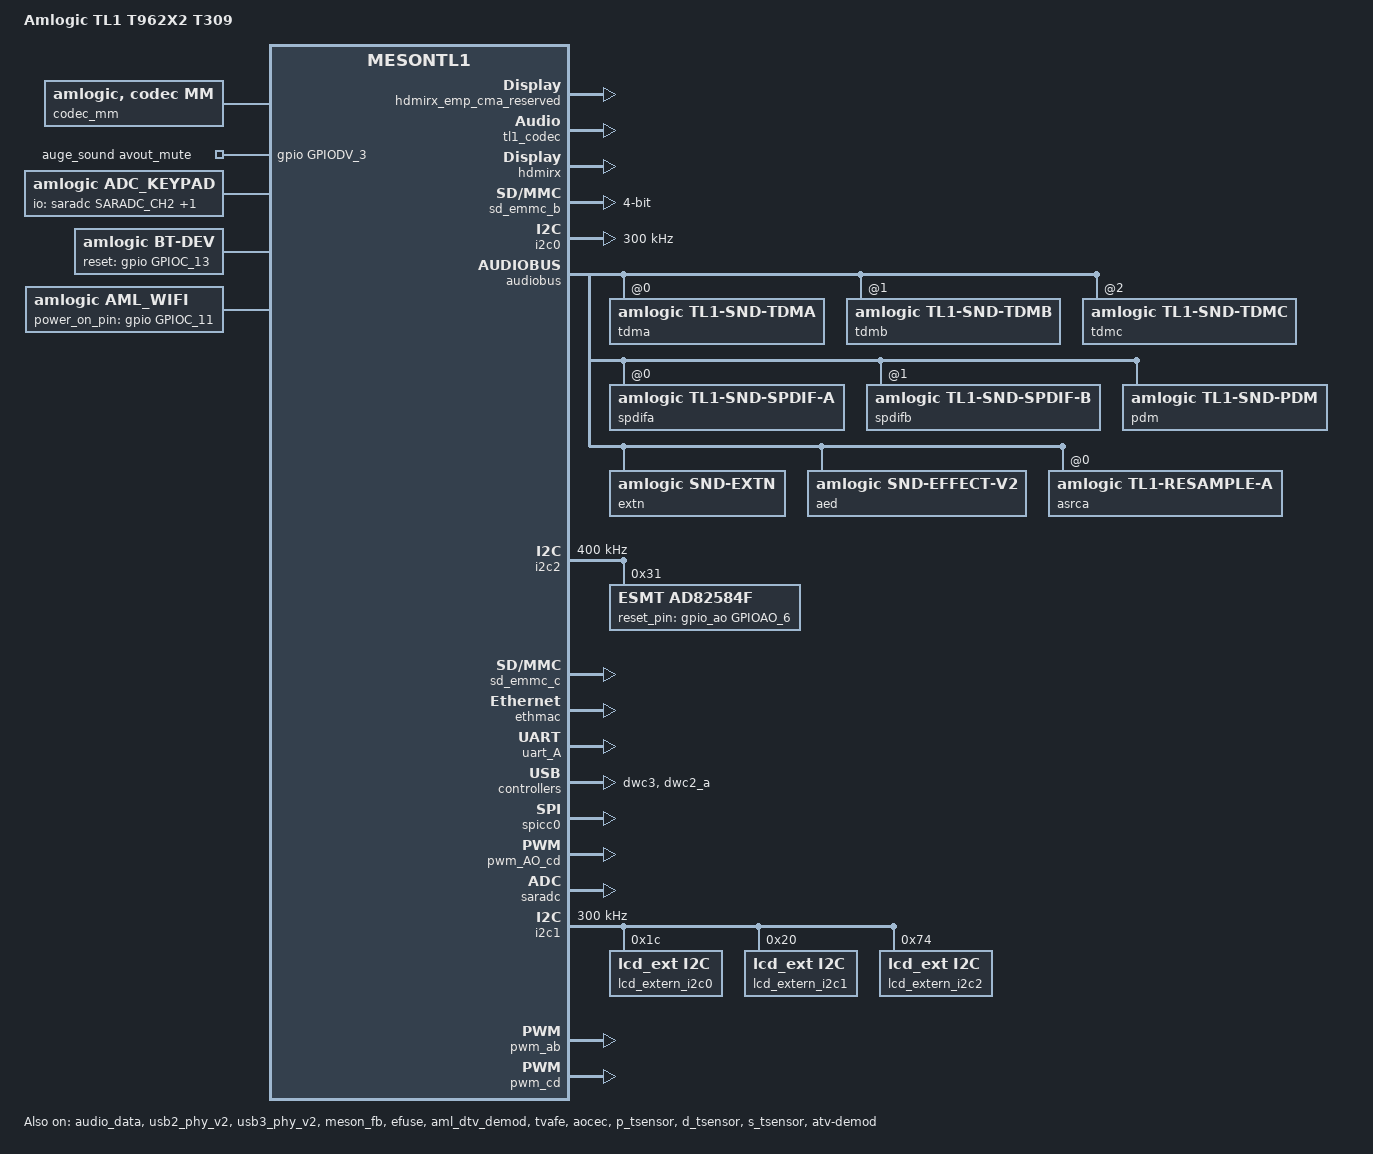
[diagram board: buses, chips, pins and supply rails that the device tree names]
/*
 * arch/arm/boot/dts/amlogic/tl1_t962x2_t309.dts
 *
 * Copyright (C) 2018 Amlogic, Inc. All rights reserved.
 *
 * This program is free software; you can redistribute it and/or modify
 * it under the terms of the GNU General Public License as published by
 * the Free Software Foundation; either version 2 of the License, or
 * (at your option) any later version.
 *
 * This program is distributed in the hope that it will be useful, but WITHOUT
 * ANY WARRANTY; without even the implied warranty of MERCHANTABILITY or
 * FITNESS FOR A PARTICULAR PURPOSE.  See the GNU General Public License for
 * more details.
 *
 */

/dts-v1/;

#include "mesontl1.dtsi"
#include "partition_mbox_normal_P_32.dtsi"
#include "mesontl1_t309-panel.dtsi"

/ {
	model = "Amlogic TL1 T962X2 T309";
	amlogic-dt-id = "tl1_t962x2_t309";
	compatible = "amlogic, tl1_t962x2_t309";

	aliases {
		serial0 = &uart_AO;
		serial1 = &uart_A;
		serial2 = &uart_B;
		serial3 = &uart_C;
		serial4 = &uart_AO_B;
		tsensor0 = &p_tsensor;
		tsensor1 = &d_tsensor;
		tsensor2 = &s_tsensor;
		i2c0 = &i2c0;
		i2c1 = &i2c1;
		i2c2 = &i2c2;
		i2c3 = &i2c3;
		i2c4 = &i2c_AO;
	};

	memory@00000000 {
		device_type = "memory";
		linux,usable-memory = <0x100000 0x7ff00000>;
	};

	reserved-memory {
		#address-cells = <1>;
		#size-cells = <1>;
		ranges;
		/* global autoconfigured region for contiguous allocations */
		secmon_reserved: linux,secmon {
			compatible = "shared-dma-pool";
			reusable;
			size = <0x400000>;
			alignment = <0x400000>;
			alloc-ranges = <0x05000000 0x400000>;
		};

		codec_mm_cma:linux,codec_mm_cma {
			compatible = "shared-dma-pool";
			reusable;
			/* ion_codec_mm max can alloc size 80M*/
			size = <0x13400000>;
			alignment = <0x400000>;
			linux,contiguous-region;
			alloc-ranges = <0x12000000 0x13400000>;
		};

		/* codec shared reserved */
		codec_mm_reserved:linux,codec_mm_reserved {
			compatible = "amlogic, codec-mm-reserved";
			size = <0x0>;
			alignment = <0x100000>;
			//no-map;
		};

		logo_reserved:linux,meson-fb {
			compatible = "shared-dma-pool";
			reusable;
			size = <0x800000>;
			alignment = <0x400000>;
			alloc-ranges = <0x7f800000 0x800000>;
		};

		lcd_tcon_reserved:linux,lcd_tcon {
			compatible = "shared-dma-pool";
			reusable;
			size = <0xc00000>;
			alignment = <0x400000>;
			alloc-ranges = <0x71000000 0xc00000>;
		};

		ion_cma_reserved:linux,ion-dev {
			compatible = "shared-dma-pool";
			reusable;
			size = <0x8000000>;
			alignment = <0x400000>;
		};

		/*  vdin0 CMA pool */
		//vdin0_cma_reserved:linux,vdin0_cma {
		//	compatible = "shared-dma-pool";
		//	reusable;
			/* 3840x2160x4x4 ~=128 M */
		//	size = <0xc400000>;
		//	alignment = <0x400000>;
		//};

		/*  vdin1 CMA pool */
		vdin1_cma_reserved:linux,vdin1_cma {
			compatible = "shared-dma-pool";
			reusable;
			/* 1920x1080x2x4  =16 M */
			size = <0x1400000>;
			alignment = <0x400000>;
		};

		/*demod_reserved:linux,demod {
		 *	compatible = "amlogic, demod-mem";
		 *	size = <0x800000>; //8M //100m 0x6400000
		 *	alloc-ranges = <0x0 0x30000000>;
		 *	//multi-use;
		 *	//no-map;
		 *};
		 */

		demod_cma_reserved:linux,demod_cma {
			compatible = "shared-dma-pool";
			reusable;
			/* 8M */
			size = <0x0800000>;
			alignment = <0x400000>;
		};

		/*vbi reserved mem*/
		vbi_reserved:linux,vbi {
			compatible = "amlogic, vbi-mem";
			size = <0x100000>;
			alloc-ranges = <0x0e000000 0x800000>;
		};

		/*di CMA pool */
		di_cma_reserved:linux,di_cma {
			compatible = "shared-dma-pool";
			reusable;
			/* buffer_size = 3621952(yuv422 8bit)
			 *  | 4736064(yuv422 10bit)
			 *  | 4074560(yuv422 10bit full pack mode)
			 * 10x3621952=34.6M(0x23) support 8bit
			 * 10x4736064=45.2M(0x2e) support 12bit
			 * 10x4074560=40M(0x28) support 10bit
			 */
			size = <0x02800000>;
			alignment = <0x400000>;
		};

		/* for hdmi rx emp use */
		hdmirx_emp_cma_reserved:linux,emp_cma {
			compatible = "shared-dma-pool";
			/*linux,phandle = <5>;*/
			reusable;
			/* 4M for emp to ddr */
			/* 32M for tmds to ddr */
			size = <0x2000000>;
			alignment = <0x400000>;
			/* alloc-ranges = <0x400000 0x2000000>; */
		};

		/* POST PROCESS MANAGER */
		ppmgr_reserved:linux,ppmgr {
			compatible = "amlogic, ppmgr_memory";
			size = <0x0>;
		};
	}; /* end of reserved-memory */

	codec_mm {
		compatible = "amlogic, codec, mm";
		status = "okay";
		memory-region = <&codec_mm_cma &codec_mm_reserved>;
	};

	ppmgr {
		compatible = "amlogic, ppmgr";
		memory-region = <&ppmgr_reserved>;
		status = "okay";
	};

	deinterlace {
		compatible = "amlogic, deinterlace";
		status = "okay";
		/* 0:use reserved; 1:use cma; 2:use cma as reserved */
		flag_cma = <1>;
		//memory-region = <&di_reserved>;
		memory-region = <&di_cma_reserved>;
		interrupts = <0 46 1
				0 40 1>;
		interrupt-names = "pre_irq", "post_irq";
		clocks = <&clkc CLKID_VPU_CLKB_TMP_COMP>,
			<&clkc CLKID_VPU_CLKB_COMP>;
		clock-names = "vpu_clkb_tmp_composite",
			"vpu_clkb_composite";
		clock-range = <334 667>;
		/* buffer-size = <3621952>;(yuv422 8bit) */
		buffer-size = <4074560>;/*yuv422 fullpack*/
		/* reserve-iomap = "true"; */
		/* if enable nr10bit, set nr10bit-support to 1 */
		post-wr-support = <1>;
		nr10bit-support = <1>;
		nrds-enable = <1>;
		pps-enable = <1>;
	};

	vout {
		compatible = "amlogic, vout";
		status = "okay";
		fr_auto_policy = <0>;
	};

	/* Audio Related start */
	pdm_codec:dummy {
		#sound-dai-cells = <0>;
		compatible = "amlogic, pdm_dummy_codec";
		status = "okay";
	};

	dummy_codec:dummy {
		#sound-dai-cells = <0>;
		compatible = "amlogic, aml_dummy_codec";
		status = "okay";
	};

	tl1_codec:codec {
		#sound-dai-cells = <0>;
		compatible = "amlogic, tl1_acodec";
		status = "okay";
		reg = <0xff632000 0x1c>;
		tdmout_index = <0>;
		tdmin_index = <0>;
		dat1_ch_sel = <1>;
	};

	aml_dtv_demod {
		compatible = "amlogic, ddemod-tl1";
		dev_name = "aml_dtv_demod";
		status = "okay";

		//pinctrl-names="dtvdemod_agc";
		//pinctrl-0=<&dtvdemod_agc>;

		clocks = <&clkc CLKID_DAC_CLK>;
		clock-names = "vdac_clk_gate";

		reg = <0xff650000 0x4000	/*dtv demod base*/
			   0xff63c000 0x2000	/*hiu reg base*/
			   0xff800000 0x1000	/*io_aobus_base*/
			   0xffd01000 0x1000	/*reset*/
			>;

		dtv_demod0_mem = <0>;	// need move to aml_dtv_demod ?
		spectrum = <1>;
		cma_flag = <1>;
		cma_mem_size = <8>;
		memory-region = <&demod_cma_reserved>;//<&demod_reserved>;
	};

	auge_sound {
		compatible = "amlogic, tl1-sound-card";
		aml-audio-card,name = "AML-AUGESOUND";

		avout_mute-gpios = <&gpio GPIODV_3 GPIO_ACTIVE_HIGH>;

		aml-audio-card,dai-link@0 {
			format = "i2s";
			mclk-fs = <256>;
			continuous-clock;
			//bitclock-inversion;
			//frame-inversion;
			/* master mode */
			bitclock-master = <&tdma>;
			frame-master = <&tdma>;
			/* slave mode */
			/*
			 * bitclock-master = <&tdmacodec>;
			 * frame-master = <&tdmacodec>;
			 */
			/* suffix-name, sync with android audio hal used for */
			suffix-name = "alsaPORT-i2s";
			tdmacpu: cpu {
				sound-dai = <&tdma>;
				dai-tdm-slot-tx-mask =
							<1 1>;
				dai-tdm-slot-rx-mask =
							<1 1>;
				dai-tdm-slot-num = <2>;
				dai-tdm-slot-width = <32>;
				system-clock-frequency = <12288000>;
			};
			tdmacodec: codec {
				//sound-dai = <&dummy_codec>;
				sound-dai = <&ad82584f &tl1_codec>;
			};
		};

		aml-audio-card,dai-link@1 {
			status = "disabled";

			format = "i2s";
			mclk-fs = <256>;
			//continuous-clock;
			//bitclock-inversion;
			//frame-inversion;
			/* master mode */
			bitclock-master = <&tdmb>;
			frame-master = <&tdmb>;
			/* slave mode */
			//bitclock-master = <&tdmbcodec>;
			//frame-master = <&tdmbcodec>;
			/* suffix-name, sync with android audio hal used for */
			suffix-name = "alsaPORT-pcm";
			cpu {
				sound-dai = <&tdmb>;
				dai-tdm-slot-tx-mask = <1 1>;
				dai-tdm-slot-rx-mask = <1 1>;
				dai-tdm-slot-num = <2>;
				/*
				 * dai-tdm-slot-tx-mask =
				 *	<1 1 1 1 1 1 1 1>;
				 * dai-tdm-slot-rx-mask =
				 *	<1 1 1 1 1 1 1 1>;
				 * dai-tdm-slot-num = <8>;
				 */
				dai-tdm-slot-width = <32>;
				system-clock-frequency = <12288000>;
			};
			tdmbcodec: codec {
				sound-dai = <&dummy_codec>;
			};
		};

		aml-audio-card,dai-link@2 {
			status = "disabled";

			format = "i2s";
			mclk-fs = <256>;
			//continuous-clock;
			//bitclock-inversion;
			//frame-inversion;
			/* master mode */
			bitclock-master = <&tdmc>;
			frame-master = <&tdmc>;
			/* slave mode */
			//bitclock-master = <&tdmccodec>;
			//frame-master = <&tdmccodec>;
			/* suffix-name, sync with android audio hal used for */
			//suffix-name = "alsaPORT-tdm";
			cpu {
				sound-dai = <&tdmc>;
				dai-tdm-slot-tx-mask = <1 1>;
				dai-tdm-slot-rx-mask = <1 1>;
				dai-tdm-slot-num = <2>;
				dai-tdm-slot-width = <32>;
				system-clock-frequency = <12288000>;
			};
			tdmccodec: codec {
				sound-dai = <&dummy_codec>;
			};
		};

		aml-audio-card,dai-link@3 {
			mclk-fs = <64>;
			/* suffix-name, sync with android audio hal used for */
			suffix-name = "alsaPORT-pdm";
			cpu {
				sound-dai = <&pdm>;
			};
			codec {
				sound-dai = <&pdm_codec>;
			};
		};

		aml-audio-card,dai-link@4 {
			mclk-fs = <128>;
			/* suffix-name, sync with android audio hal used for */
			suffix-name = "alsaPORT-spdif";
			cpu {
				sound-dai = <&spdifa>;
				system-clock-frequency = <6144000>;
			};
			codec {
				sound-dai = <&dummy_codec>;
			};
		};

		aml-audio-card,dai-link@5 {
			mclk-fs = <128>;
			cpu {
				sound-dai = <&spdifb>;
				system-clock-frequency = <6144000>;
			};
			codec {
				sound-dai = <&dummy_codec>;
			};
		};

		aml-audio-card,dai-link@6 {
			mclk-fs = <256>;
			suffix-name = "alsaPORT-tv";
			cpu {
				sound-dai = <&extn>;
				system-clock-frequency = <12288000>;
			};
			codec {
				sound-dai = <&dummy_codec>;
			};
		};

	};
	/* Audio Related end */

	dvb {
		compatible = "amlogic, dvb";
		status = "okay";
		fe0_mode = "internal";
		fe0_tuner = <&tuner>;

		/*"parallel","serial","disable"*/
		ts2 = "parallel";
		ts2_control = <0>;
		ts2_invert = <0>;
		interrupts = <0 23 1
				0 5 1
				0 53 1
				0 19 1
				0 25 1
				0 17 1>;
		interrupt-names = "demux0_irq",
				"demux1_irq",
				"demux2_irq",
				"dvr0_irq",
				"dvr1_irq",
				"dvr2_irq";
		clocks = <&clkc CLKID_DEMUX
			&clkc CLKID_ASYNC_FIFO
			&clkc CLKID_AHB_ARB0
/*		&clkc CLKID_DOS_PARSER>;*/
		&clkc CLKID_U_PARSER>;
		clock-names = "demux", "asyncfifo", "ahbarb0", "uparsertop";
	};

	tvafe_avin_detect {
		compatible = "amlogic, tl1_tvafe_avin_detect";
		status = "okay";
		device_mask = <1>;/*bit0:ch1;bit1:ch2*/
		interrupts = <0 12 1>,
				<0 13 1>;
	};

	amlvecm {
		compatible = "amlogic, vecm";
		dev_name = "aml_vecm";
		status = "okay";
		gamma_en = <1>;/*1:enabel ;0:disable*/
		wb_en = <1>;/*1:enabel ;0:disable*/
		cm_en = <1>;/*1:enabel ;0:disable*/
		wb_sel = <1>;/*1:mtx ;0:gainoff*/
		vlock_en = <1>;/*1:enable;0:disable*/
		vlock_mode = <0x4>;
		/* vlock work mode:
		 *bit0:auto ENC
		 *bit1:auto PLL
		 *bit2:manual PLL
		 *bit3:manual ENC
		 *bit4:manual soft ENC
		 *bit5:manual MIX PLL ENC
		 */
		 vlock_pll_m_limit = <1>;
		 vlock_line_limit = <3>;
	};

	vdin@0 {
		compatible = "amlogic, vdin";
		/*memory-region = <&vdin0_cma_reserved>;*/
		status = "okay";
		/*bit0:(1:share with codec_mm;0:cma alone)
		 *bit8:(1:alloc in discontinus way;0:alone in continuous way)
		 */
		flag_cma = <0x101>;
		/*MByte, if 10bit disable: 64M(YUV422),
		 *if 10bit enable: 64*1.5 = 96M(YUV422)
		 *if support 4K2K-YUV444-10bit-WR:3840*2160*4*4 ~= 128M
		 *if support 4K2K-YUV422-10bit-wr:3840*2160*3*4 ~= 96M
		 *if support 4K2K-YUV422-8BIT-WR:3840*2160*2*4 ~= 64M
		 *if support 1080p-YUV422-8BIT-WR:1920*1080*2*4 ~= 16M
		 */
		cma_size = <190>;
		interrupts = <0 83 1>;
		rdma-irq = <2>;
		clocks = <&clkc CLKID_FCLK_DIV5>,
			<&clkc CLKID_VDIN_MEAS_COMP>;
		clock-names = "fclk_div5", "cts_vdin_meas_clk";
		vdin_id = <0>;
		/*vdin write mem color depth support:
		 * bit0:support 8bit
		 * bit1:support 9bit
		 * bit2:support 10bit
		 * bit3:support 12bit
		 * bit4:support yuv422 10bit full pack mode (from txl new add)
		 * bit8:use 8bit  at 4k_50/60hz_10bit
		 * bit9:use 10bit at 4k_50/60hz_10bit
		 */
		tv_bit_mode = <0x215>;
		/* afbce_bit_mode: (amlogic frame buff compression encoder)
		 * bit 0~3:
		 * 0 -- normal mode, not use afbce
		 * 1 -- use afbce non-mmu mode
		 * 2 -- use afbce mmu mode
		 * bit 4:
		 * 0 -- afbce compression-lossy disable
		 * 1 -- afbce compression-lossy enable
		 */
		afbce_bit_mode = <0>;
	};

	vdin@1 {
		compatible = "amlogic, vdin";
		memory-region = <&vdin1_cma_reserved>;
		status = "okay";
		/*bit0:(1:share with codec_mm;0:cma alone)
		 *bit8:(1:alloc in discontinus way;0:alone in continuous way)
		 */
		flag_cma = <0>;
		interrupts = <0 85 1>;
		rdma-irq = <4>;
		clocks = <&clkc CLKID_FCLK_DIV5>,
			<&clkc CLKID_VDIN_MEAS_COMP>;
		clock-names = "fclk_div5", "cts_vdin_meas_clk";
		vdin_id = <1>;
		/*vdin write mem color depth support:
		 *bit0:support 8bit
		 *bit1:support 9bit
		 *bit2:support 10bit
		 *bit3:support 12bit
		 */
		tv_bit_mode = <0x15>;
	};

	tvafe {
		compatible = "amlogic, tvafe-tl1";
		/*memory-region = <&tvafe_cma_reserved>;*/
		status = "okay";
		flag_cma = <1>;/*1:share with codec_mm;0:cma alone*/
		cma_size = <5>;/*MByte*/
		reg = <0xff654000 0x2000>;/*tvafe reg base*/
		reserve-iomap = "true";
		tvafe_id = <0>;
		//pinctrl-names = "default";
		/*!!particular sequence, no more and no less!!!*/
		tvafe_pin_mux = <
				3 /* TVAFE_CVBS_IN2, CVBS_IN0 = 0 */
				1 /* TVAFE_CVBS_IN0, CVBS_IN1 */
				2 /* TVAFE_CVBS_IN1, CVBS_IN2 */
				4 /* TVAFE_CVBS_IN3, CVBS_IN3 */
		>;
		clocks = <&clkc CLKID_DAC_CLK>;
		clock-names = "vdac_clk_gate";
	};

	vbi {
		compatible = "amlogic, vbi";
		memory-region = <&vbi_reserved>;
		status = "okay";
		interrupts = <0 83 1>;
		reserve-iomap = "true";
	};

	cvbsout {
		compatible = "amlogic, cvbsout-tl1";
		status = "disabled";
		clocks = <&clkc CLKID_VCLK2_ENCI
			&clkc CLKID_VCLK2_VENCI0
			&clkc CLKID_VCLK2_VENCI1
			&clkc CLKID_DAC_CLK>;
		clock-names = "venci_top_gate",
			"venci_0_gate",
			"venci_1_gate",
			"vdac_clk_gate";
		/* clk path */
		/* 0:vid_pll vid2_clk */
		/* 1:gp0_pll vid2_clk */
		/* 2:vid_pll vid1_clk */
		/* 3:gp0_pll vid1_clk */
		clk_path = <0>;

		/* performance: reg_address, reg_value */
		/* tl1 */
		performance = <0x1bf0  0x9
			0x1b56  0x333
			0x1b12  0x8080
			0x1b05  0xfd
			0x1c59  0xf850
			0xffff  0x0>; /* ending flag */
		performance_sarft = <0x1bf0  0x9
			0x1b56  0x333
			0x1b12  0x0
			0x1b05  0x9
			0x1c59  0xfc48
			0xffff  0x0>; /* ending flag */
		performance_revB_telecom = <0x1bf0  0x9
			0x1b56  0x546
			0x1b12  0x8080
			0x1b05  0x9
			0x1c59  0xf850
			0xffff  0x0>; /* ending flag */
	};

	/* for external keypad */
	adc_keypad {
		compatible = "amlogic, adc_keypad";
		status = "okay";
		key_name = "power","up","down","enter","left","right","home";
		key_num = <7>;
		io-channels = <&saradc SARADC_CH2>,<&saradc SARADC_CH3>;
		io-channel-names = "key-chan-2", "key-chan-3";
		key_chan = <SARADC_CH2 SARADC_CH2 SARADC_CH2 SARADC_CH2
			SARADC_CH2 SARADC_CH3 SARADC_CH3>;
		key_code = <116 103 108 28 105 106 102>;
		key_val = <0 143 266 389 512 143 266>; //val=voltage/1800mV*1023
		key_tolerance = <40 40 40 40 40 40 40>;
};

	unifykey {
		compatible = "amlogic, unifykey";
		status = "okay";

		unifykey-num = <21>;
		unifykey-index-0 = <&keysn_0>;
		unifykey-index-1 = <&keysn_1>;
		unifykey-index-2 = <&keysn_2>;
		unifykey-index-3 = <&keysn_3>;
		unifykey-index-4 = <&keysn_4>;
		unifykey-index-5 = <&keysn_5>;
		unifykey-index-6 = <&keysn_6>;
		unifykey-index-7 = <&keysn_7>;
		unifykey-index-8 = <&keysn_8>;
		unifykey-index-9 = <&keysn_9>;
		unifykey-index-10= <&keysn_10>;
		unifykey-index-11 = <&keysn_11>;
		unifykey-index-12 = <&keysn_12>;
		unifykey-index-13 = <&keysn_13>;
		unifykey-index-14 = <&keysn_14>;
		unifykey-index-15 = <&keysn_15>;
		unifykey-index-16 = <&keysn_16>;
		unifykey-index-17 = <&keysn_17>;
		unifykey-index-18 = <&keysn_18>;
		unifykey-index-19 = <&keysn_19>;
		unifykey-index-20 = <&keysn_20>;

		keysn_0: key_0{
			key-name = "usid";
			key-device = "normal";
			key-permit = "read","write","del";
		};
		keysn_1:key_1{
			key-name = "mac";
			key-device  = "normal";
			key-permit = "read","write","del";
		};
		keysn_2:key_2{
			key-name = "hdcp";
			key-device = "secure";
			key-type  = "sha1";
			key-permit = "read","write","del";
		};
		keysn_3:key_3{
			key-name = "secure_boot_set";
			key-device = "efuse";
			key-permit = "write";
		};
		keysn_4:key_4{
			key-name = "mac_bt";
			key-device = "normal";
			key-permit = "read","write","del";
			key-type  = "mac";
		};
		keysn_5:key_5{
			key-name = "mac_wifi";
			key-device = "normal";
			key-permit = "read","write","del";
			key-type  = "mac";
		};
		keysn_6:key_6{
			key-name = "hdcp2_tx";
			key-device = "normal";
			key-permit = "read","write","del";
		};
		keysn_7:key_7{
			key-name = "hdcp2_rx";
			key-device = "normal";
			key-permit = "read","write","del";
		};
		keysn_8:key_8{
			key-name = "widevinekeybox";
			key-device = "secure";
			key-type = "sha1";
			key-permit = "read","write","del";
		};
		keysn_9:key_9{
			key-name = "deviceid";
			key-device = "normal";
			key-permit = "read","write","del";
		};
		keysn_10:key_10{
			key-name = "hdcp22_fw_private";
			key-device = "secure";
			key-permit = "read","write","del";
		};
		keysn_11:key_11{
			key-name = "hdcp22_rx_private";
			key-device = "secure";
			key-permit = "read","write","del";
		};
		keysn_12:key_12{
			key-name = "hdcp22_rx_fw";
			key-device = "normal";
			key-permit = "read","write","del";
		};
		keysn_13:key_13{
			key-name = "hdcp14_rx";
			key-device = "normal";
			key-type  = "sha1";
			key-permit = "read","write","del";
		};
		keysn_14:key_14{
			key-name = "prpubkeybox";// PlayReady
			key-device = "secure";
			key-permit = "read","write","del";
		};
		keysn_15:key_15{
			key-name = "prprivkeybox";// PlayReady
			key-device = "secure";
			key-permit = "read","write","del";
		};
		keysn_16:key_16{
			key-name = "lcd";
			key-device = "normal";
			key-permit = "read","write","del";
		};
		keysn_17:key_17{
			key-name = "lcd_extern";
			key-device = "normal";
			key-permit = "read","write","del";
		};
		keysn_18:key_18{
			key-name = "backlight";
			key-device = "normal";
			key-permit = "read","write","del";
		};
		keysn_19:key_19{
			key-name = "lcd_tcon";
			key-device = "normal";
			key-permit = "read","write","del";
		};
		keysn_20:key_20{
			key-name = "attestationkeybox";// attestation key
			key-device = "secure";
			key-permit = "read","write","del";
		};
	}; /* End unifykey */

	hdmirx {
		compatible = "amlogic, hdmirx_tl1";
		#address-cells=<1>;
		#size-cells=<1>;
		memory-region = <&hdmirx_emp_cma_reserved>;
		status = "okay";
		pinctrl-names = "default";
		pinctrl-0 = <&hdmirx_a_mux &hdmirx_b_mux
			&hdmirx_c_mux>;
		repeat = <0>;
		interrupts = <0 41 1>;
		clocks = <&clkc CLKID_HDMIRX_MODET_COMP>,
			   <&clkc CLKID_HDMIRX_CFG_COMP>,
			   <&clkc CLKID_HDMIRX_ACR_COMP>,
			   <&clkc CLKID_HDMIRX_METER_COMP>,
			   <&clkc CLKID_HDMIRX_AXI_COMP>,
			   <&xtal>,
			   <&clkc CLKID_FCLK_DIV5>,
			   <&clkc CLKID_FCLK_DIV7>,
			   <&clkc CLKID_HDCP22_SKP_COMP>,
			   <&clkc CLKID_HDCP22_ESM_COMP>;
		//	   <&clkc CLK_AUD_PLL2FS>,
		//	   <&clkc CLK_AUD_PLL4FS>,
		//	   <&clkc CLK_AUD_OUT>;
		clock-names = "hdmirx_modet_clk",
			"hdmirx_cfg_clk",
				"hdmirx_acr_ref_clk",
				"cts_hdmirx_meter_clk",
				"cts_hdmi_axi_clk",
				"xtal",
				"fclk_div5",
				"fclk_div7",
				"hdcp_rx22_skp",
				"hdcp_rx22_esm";
		//		"hdmirx_aud_pll2fs",
		//		"hdmirx_aud_pll4f",
		//		"clk_aud_out";
		hdmirx_id = <0>;
		en_4k_2_2k = <0>;
		hpd_low_cec_off = <1>;
		/* bit4: enable feature, bit3~0: port number */
		disable_port = <0x0>;
		/* MAP_ADDR_MODULE_CBUS */
		/* MAP_ADDR_MODULE_HIU */
		/* MAP_ADDR_MODULE_HDMIRX_CAPB3 */
		/* MAP_ADDR_MODULE_SEC_AHB */
		/* MAP_ADDR_MODULE_SEC_AHB2 */
		/* MAP_ADDR_MODULE_APB4 */
		/* MAP_ADDR_MODULE_TOP */
		reg = < 0x0 0x0
			0xff63C000 0x2000
			0xffe0d000 0x2000
			0x0 0x0
			0x0 0x0
			0x0 0x0
			0xff610000 0xa000>;
	};

	aocec: aocec {
		compatible = "amlogic, aocec-tl1";
		/*device_name = "aocec";*/
		status = "okay";
		vendor_name = "Amlogic"; /* Max Chars: 8	 */
		/* Refer to the following URL at:
		 * http://standards.ieee.org/develop/regauth/oui/oui.txt
		 */
		vendor_id = <0x000000>;
		product_desc = "TL1"; /* Max Chars: 16	  */
		cec_osd_string = "AML_TV"; /* Max Chars: 14    */
		port_num = <3>;
		ee_cec;
		arc_port_mask = <0x2>;
		interrupts = <0 205 1
					0 199 1>;
		interrupt-names = "hdmi_aocecb","hdmi_aocec";
		pinctrl-names = "default","hdmitx_aocecb","cec_pin_sleep";
		pinctrl-0=<&aoceca_mux>;
		pinctrl-1=<&aocecb_mux>;
		pinctrl-2=<&aoceca_mux>;
		reg = <0xFF80023c 0x4
			   0xFF800000 0x400>;
		reg-names = "ao_exit","ao";
	};

	p_tsensor: p_tsensor@ff634800 {
		compatible = "amlogic, r1p1-tsensor";
		status = "okay";
		reg = <0xff634800 0x50>,
			<0xff800268 0x4>;
		cal_type = <0x1>;
		cal_a = <324>;
		cal_b = <424>;
		cal_c = <3159>;
		cal_d = <9411>;
		rtemp = <115000>;
		interrupts = <0 35 0>;
		clocks = <&clkc CLKID_TS_CLK_COMP>; /* CLKID_TS_COMP>;*/
		clock-names = "ts_comp";
		#thermal-sensor-cells = <1>;
	};

	d_tsensor: d_tsensor@ff634c00 {
		compatible = "amlogic, r1p1-tsensor";
		status = "okay";
		reg = <0xff634c00 0x50>,
			<0xff800230 0x4>;
		cal_type = <0x1>;
		cal_a = <324>;
		cal_b = <424>;
		cal_c = <3159>;
		cal_d = <9411>;
		rtemp = <115000>;
		interrupts = <0 36 0>;
		clocks = <&clkc CLKID_TS_CLK_COMP>; /* CLKID_TS_COMP>;*/
		clock-names = "ts_comp";
		#thermal-sensor-cells = <1>;
	};

	s_tsensor: s_tsensor@ff635000 {
		compatible = "amlogic, r1p1-tsensor";
		status = "okay";
		reg = <0xff635000 0x50>,
			<0xff80026c 0x4>;
		cal_type = <0x1>;
		cal_a = <324>;
		cal_b = <424>;
		cal_c = <3159>;
		cal_d = <9411>;
		rtemp = <115000>;
		interrupts = <0 38 0>;
		clocks = <&clkc CLKID_TS_CLK_COMP>; /* CLKID_TS_COMP>;*/
		clock-names = "ts_comp";
		#thermal-sensor-cells = <1>;
	};

	meson_cooldev: meson-cooldev@0 {
		status = "okay";
		compatible = "amlogic, meson-cooldev";
		cooling_devices {
			cpufreq_cool_cluster0 {
				min_state = <1000000>;
				dyn_coeff = <140>;
				gpu_pp = <2>;
				cluster_id = <0>;
				node_name = "cpufreq_cool0";
				device_type = "cpufreq";
			};
			cpucore_cool_cluster0 {
				min_state = <1>;
				dyn_coeff = <0>;
				gpu_pp = <2>;
				cluster_id = <0>;
				node_name = "cpucore_cool0";
				device_type = "cpucore";
			};
			gpufreq_cool {
				min_state = <400>;
				dyn_coeff = <358>;
				gpu_pp = <2>;
				cluster_id = <0>;
				node_name = "gpufreq_cool0";
				device_type = "gpufreq";
			};
			gpucore_cool {
				min_state = <1>;
				dyn_coeff = <0>;
				gpu_pp = <2>;
				cluster_id = <0>;
				node_name = "gpucore_cool0";
				device_type = "gpucore";
			};
		};
		cpufreq_cool0:cpufreq_cool0 {
			#cooling-cells = <2>; /* min followed by max */
		};
		cpucore_cool0:cpucore_cool0 {
			#cooling-cells = <2>; /* min followed by max */
		};
		gpufreq_cool0:gpufreq_cool0 {
			#cooling-cells = <2>; /* min followed by max */
		};
		gpucore_cool0:gpucore_cool0 {
			#cooling-cells = <2>; /* min followed by max */
		};
	};/*meson cooling devices end*/

	thermal-zones {
		pll_thermal: pll_thermal {
			polling-delay = <1000>;
			polling-delay-passive = <100>;
			sustainable-power = <1680>;
			thermal-sensors = <&p_tsensor 0>;
			trips {
				pswitch_on: trip-point@0 {
					temperature = <60000>;
					hysteresis = <5000>;
					type = "passive";
				};
				pcontrol: trip-point@1 {
					temperature = <75000>;
					hysteresis = <5000>;
					type = "passive";
				};
				phot: trip-point@2 {
					temperature = <85000>;
					hysteresis = <5000>;
					type = "hot";
				};
				pcritical: trip-point@3 {
					temperature = <110000>;
					hysteresis = <1000>;
					type = "critical";
				};
			};
			cooling-maps {
				cpufreq_cooling_map {
					trip = <&pcontrol>;
					cooling-device = <&cpufreq_cool0 0 11>;
					contribution = <1024>;
				};
				cpucore_cooling_map {
					trip = <&pcontrol>;
					cooling-device = <&cpucore_cool0 0 4>;
					contribution = <1024>;
				};
				gpufreq_cooling_map {
					trip = <&pcontrol>;
					cooling-device = <&gpufreq_cool0 0 4>;
					contribution = <1024>;
				};
			};
		};
		ddr_thermal: ddr_thermal {
			polling-delay = <1000>;
			polling-delay-passive = <250>;
			sustainable-power = <1680>;
			thermal-sensors = <&d_tsensor 1>;
			trips {
				dswitch_on: trip-point@0 {
					temperature = <60000>;
					hysteresis = <5000>;
					type = "passive";
				};
				dcontrol: trip-point@1 {
					temperature = <75000>;
					hysteresis = <5000>;
					type = "passive";
				};
				dhot: trip-point@2 {
					temperature = <85000>;
					hysteresis = <5000>;
					type = "hot";
				};
				dcritical: trip-point@3 {
					temperature = <110000>;
					hysteresis = <1000>;
					type = "critical";
				};
			};
		};
		sar_thermal: sar_thermal {
			polling-delay = <1000>;
			polling-delay-passive = <250>;
			sustainable-power = <1680>;
			thermal-sensors = <&s_tsensor 2>;
			trips {
				sswitch_on: trip-point@0 {
					temperature = <60000>;
					hysteresis = <5000>;
					type = "passive";
				};
				scontrol: trip-point@1 {
					temperature = <75000>;
					hysteresis = <5000>;
					type = "passive";
				};
				shot: trip-point@2 {
					temperature = <85000>;
					hysteresis = <5000>;
					type = "hot";
				};
				scritical: trip-point@3 {
					temperature = <110000>;
					hysteresis = <1000>;
					type = "critical";
				};
			};
		};
	}; /*thermal zone end*/

	/*DCDC for MP8756GD*/
	cpu_opp_table0: cpu_opp_table0 {
		compatible = "operating-points-v2";
		opp-shared;

		opp00 {
			opp-hz = /bits/ 64 <100000000>;
			opp-microvolt = <731000>;
		};
		opp01 {
			opp-hz = /bits/ 64 <250000000>;
			opp-microvolt = <731000>;
		};
		opp02 {
			opp-hz = /bits/ 64 <500000000>;
			opp-microvolt = <731000>;
		};
		opp03 {
			opp-hz = /bits/ 64 <667000000>;
			opp-microvolt = <761000>;
		};
		opp04 {
			opp-hz = /bits/ 64 <1000000000>;
			opp-microvolt = <791000>;
		};
		opp05 {
			opp-hz = /bits/ 64 <1200000000>;
			opp-microvolt = <801000>;
		};
		opp06 {
			opp-hz = /bits/ 64 <1404000000>;
			opp-microvolt = <831000>;
		};
		opp07 {
			opp-hz = /bits/ 64 <1500000000>;
			opp-microvolt = <861000>;
		};
		opp08 {
			opp-hz = /bits/ 64 <1608000000>;
			opp-microvolt = <891000>;
		};
		opp09 {
			opp-hz = /bits/ 64 <1704000000>;
			opp-microvolt = <921000>;
		};
		opp10 {
			opp-hz = /bits/ 64 <1800000000>;
			opp-microvolt = <981000>;
		};
		opp11 {
			opp-hz = /bits/ 64 <1908000000>;
			opp-microvolt = <1011000>;
		};
	};

	cpufreq-meson {
		compatible = "amlogic, cpufreq-meson";
		pinctrl-names = "default";
		pinctrl-0 = <&pwm_ao_d_pins3>;
		status = "okay";
	};

	tuner: tuner {
		status = "okay";
		tuner_name = "mxl661_tuner";
		tuner_i2c_adap = <&i2c0>;
		tuner_i2c_addr = <0x60>;
		tuner_xtal = <1>; /* 0: 16MHz, 1: 24MHz */
		tuner_xtal_mode = <3>;
					/* NO_SHARE_XTAL(0)
					 * SLAVE_XTAL_SHARE(3)
					 */
		tuner_xtal_cap = <25>; /* when tuner_xtal_mode = 3, set 25 */
	};

	atv-demod {
		compatible = "amlogic, atv-demod";
		status = "okay";
		tuner = <&tuner>;
		btsc_sap_mode = <1>;
		/* pinctrl-names="atvdemod_agc_pins"; */
		/* pinctrl-0=<&atvdemod_agc_pins>; */
		reg = <0xff656000 0x2000 /* demod reg */
				0xff63c000 0x2000 /* hiu reg */
				0xff634000 0x2000 /* periphs reg */
				0xff64a000 0x2000>; /* audio reg */
		reg_23cf = <0x88188832>;
		/*default:0x88188832;r840 on haier:0x48188832*/
	};

	bt-dev{
		compatible = "amlogic, bt-dev";
		status = "okay";
		gpio_reset = <&gpio       GPIOC_13       GPIO_ACTIVE_HIGH>;
	};

	wifi{
		compatible = "amlogic, aml_wifi";
		status = "okay";
		interrupt_pin = <&gpio       GPIOC_12       GPIO_ACTIVE_HIGH>;
		irq_trigger_type = "GPIO_IRQ_LOW";
		dhd_static_buf;    //dhd_static_buf support
		power_on_pin = <&gpio       GPIOC_11       GPIO_ACTIVE_HIGH>;
		pinctrl-names = "default";
		pinctrl-0 = <&pwm_b_pins1>;
		pwm_config = <&wifi_pwm_conf>;
	};

	wifi_pwm_conf:wifi_pwm_conf{
		pwm_channel1_conf {
			pwms = <&pwm_ab MESON_PWM_1 30541 0>;
			duty-cycle = <15270>;
			times = <8>;
		};
		pwm_channel2_conf {
			pwms = <&pwm_ab MESON_PWM_3 30500 0>;
			duty-cycle = <15250>;
			times = <12>;
		};
	};

	sd_emmc_b: sdio@ffe05000 {
		status = "okay";
		compatible = "amlogic, meson-mmc-tl1";
		reg = <0xffe05000 0x800>;
		interrupts = <0 190 4>;

		pinctrl-names = "sdio_all_pins",
			"sdio_clk_cmd_pins";
		pinctrl-0 = <&sdio_all_pins>;
		pinctrl-1 = <&sdio_clk_cmd_pins>;

		clocks = <&clkc CLKID_SD_EMMC_B>,
			<&clkc CLKID_SD_EMMC_B_P0_COMP>,
			<&clkc CLKID_FCLK_DIV2>,
			<&clkc CLKID_FCLK_DIV5>,
			<&xtal>;
		clock-names = "core", "clkin0", "clkin1", "clkin2", "xtal";

		bus-width = <4>;
		cap-sd-highspeed;
		cap-mmc-highspeed;
		max-frequency = <100000000>;
		disable-wp;
		sdio {
			pinname = "sdio";
			ocr_avail = <0x200080>; /**VDD voltage 3.3 ~ 3.4 */
			caps = "MMC_CAP_4_BIT_DATA",
				"MMC_CAP_MMC_HIGHSPEED",
				"MMC_CAP_SD_HIGHSPEED",
				"MMC_CAP_NONREMOVABLE", /**ptm debug */
				 "MMC_CAP_UHS_SDR12",
				 "MMC_CAP_UHS_SDR25",
				 "MMC_CAP_UHS_SDR50",
				 "MMC_CAP_UHS_SDR104",
				 "MMC_PM_KEEP_POWER",
				 "MMC_CAP_SDIO_IRQ";
			f_min = <400000>;
			f_max = <200000000>;
			max_req_size = <0x20000>; /**128KB*/
			card_type = <3>;
			/* 3:sdio device(ie:sdio-wifi),
			 * 4:SD combo (IO+mem) card
			 */
		};
	};
}; /* end of / */

&i2c0 {
	status = "okay";
	clock-frequency = <300000>;
	pinctrl-names="default";
	pinctrl-0=<&i2c0_dv_pins>;
};

&audiobus {
	tdma:tdm@0 {
		compatible = "amlogic, tl1-snd-tdma";
		#sound-dai-cells = <0>;

		dai-tdm-lane-slot-mask-in = <1 0>;
		dai-tdm-lane-slot-mask-out = <1 1 1 1>;
		dai-tdm-clk-sel = <0>;

		clocks = <&clkaudio CLKID_AUDIO_MCLK_A
				&clkc CLKID_MPLL0
				&clkc CLKID_MPLL0>;
		clock-names = "mclk", "clk_srcpll", "samesource_sysclk";

		pinctrl-names = "tdm_pins";
		pinctrl-0 = <&tdma_mclk &tdmout_a>;

		/*
		 * 0: tdmout_a;
		 * 1: tdmout_b;
		 * 2: tdmout_c;
		 * 3: spdifout;
		 * 4: spdifout_b;
		 */
		samesource_sel = <3>;

		/* In for ACODEC_ADC */
		acodec_adc = <1>;

		status = "okay";
	};

	tdmb:tdm@1 {
		compatible = "amlogic, tl1-snd-tdmb";
		#sound-dai-cells = <0>;

		dai-tdm-lane-slot-mask-in = <1 0 0 0>;
		dai-tdm-lane-slot-mask-out = <1 0 0 0>;
		dai-tdm-clk-sel = <1>;

		clocks = <&clkaudio CLKID_AUDIO_MCLK_B
				&clkc CLKID_MPLL1>;
		clock-names = "mclk", "clk_srcpll";

		status = "okay";
	};

	tdmc:tdm@2 {
		compatible = "amlogic, tl1-snd-tdmc";
		#sound-dai-cells = <0>;

		dai-tdm-lane-slot-mask-in = <1 0 0 0>;
		dai-tdm-lane-slot-mask-out = <1 0 0 0>;
		dai-tdm-clk-sel = <2>;

		clocks = <&clkaudio CLKID_AUDIO_MCLK_C
				&clkc CLKID_MPLL2>;
		clock-names = "mclk", "clk_srcpll";

		pinctrl-names = "tdm_pins";
		pinctrl-0 = <&tdmout_c &tdmin_c>;

		status = "okay";
	};

	spdifa:spdif@0 {
		compatible = "amlogic, tl1-snd-spdif-a";
		#sound-dai-cells = <0>;

		clocks = <&clkc CLKID_MPLL0
				&clkc CLKID_FCLK_DIV4
				&clkaudio CLKID_AUDIO_GATE_SPDIFIN
				&clkaudio CLKID_AUDIO_GATE_SPDIFOUT_A
				&clkaudio CLKID_AUDIO_SPDIFIN
				&clkaudio CLKID_AUDIO_SPDIFOUT_A>;
		clock-names = "sysclk", "fixed_clk", "gate_spdifin",
				"gate_spdifout", "clk_spdifin", "clk_spdifout";

		interrupts =
				<GIC_SPI 151 IRQ_TYPE_EDGE_RISING>;
		interrupt-names = "irq_spdifin";

		pinctrl-names = "spdif_pins";
		pinctrl-0 = <&spdifout_a>;

		/*
		 * whether do asrc for pcm and resample a or b
		 * if raw data, asrc is disabled automatically
		 * 0: "Disable",
		 * 1: "Enable:32K",
		 * 2: "Enable:44K",
		 * 3: "Enable:48K",
		 * 4: "Enable:88K",
		 * 5: "Enable:96K",
		 * 6: "Enable:176K",
		 * 7: "Enable:192K",
		 */
		asrc_id = <0>;
		auto_asrc = <3>;

		status = "okay";
	};

	spdifb:spdif@1 {
		compatible = "amlogic, tl1-snd-spdif-b";
		#sound-dai-cells = <0>;

		clocks = <&clkc CLKID_MPLL0 /*CLKID_HIFI_PLL*/
				&clkaudio CLKID_AUDIO_GATE_SPDIFOUT_B
				&clkaudio CLKID_AUDIO_SPDIFOUT_B>;
		clock-names = "sysclk",
				"gate_spdifout", "clk_spdifout";

		status = "okay";
	};

	pdm:pdm {
		compatible = "amlogic, tl1-snd-pdm";
		#sound-dai-cells = <0>;

		clocks = <&clkaudio CLKID_AUDIO_GATE_PDM
			&clkc CLKID_FCLK_DIV3
			&clkc CLKID_MPLL3
			&clkaudio CLKID_AUDIO_PDMIN0
			&clkaudio CLKID_AUDIO_PDMIN1>;
		clock-names = "gate",
			"sysclk_srcpll",
			"dclk_srcpll",
			"pdm_dclk",
			"pdm_sysclk";

		pinctrl-names = "pdm_pins";
		pinctrl-0 = <&pdmin>;

		/* mode 0~4, defalut:1 */
		filter_mode = <1>;

		status = "okay";
	};

	extn:extn {
		compatible = "amlogic, snd-extn";
		#sound-dai-cells = <0>;

		interrupts =
				<GIC_SPI 158 IRQ_TYPE_EDGE_RISING>;
		interrupt-names = "irq_frhdmirx";

		status = "okay";
	};

	aed:effect {
		compatible = "amlogic, snd-effect-v2";
		#sound-dai-cells = <0>;

		clocks = <&clkaudio CLKID_AUDIO_GATE_EQDRC
			&clkc CLKID_FCLK_DIV5
			&clkaudio CLKID_AUDIO_EQDRC>;
		clock-names = "gate", "srcpll", "eqdrc";

		eq_enable = <1>;
		multiband_drc_enable = <0>;
		fullband_drc_enable = <0>;
		/*
		 * 0:tdmout_a
		 * 1:tdmout_b
		 * 2:tdmout_c
		 * 3:spdifout
		 * 4:spdifout_b
		 */
		eqdrc_module = <0>;
		/* max 0xf, each bit for one lane, usually one lane */
		lane_mask = <0x1>;
		/* max 0xff, each bit for one channel */
		channel_mask = <0x3>;

		status = "okay";
	};

	asrca: resample@0 {
		compatible = "amlogic, tl1-resample-a";
		clocks = <&clkc CLKID_MPLL0
				&clkaudio CLKID_AUDIO_MCLK_A
				&clkaudio CLKID_AUDIO_RESAMPLE_A>;
		clock-names = "resample_pll", "resample_src", "resample_clk";
		/*same with toddr_src
		 *	TDMIN_A, 0
		 *	TDMIN_B, 1
		 *	TDMIN_C, 2
		 *	SPDIFIN, 3
		 *	PDMIN,  4
		 *	NONE,
		 *	TDMIN_LB, 6
		 *	LOOPBACK, 7
		 */
		resample_module = <3>;

		status = "okay";
	};

	asrcb: resample@1 {
		compatible = "amlogic, tl1-resample-b";

		clocks = <&clkc CLKID_MPLL3
			&clkaudio CLKID_AUDIO_MCLK_F
			&clkaudio CLKID_AUDIO_RESAMPLE_B>;
		clock-names = "resample_pll", "resample_src", "resample_clk";

		/*same with toddr_src
		 *      TDMIN_A, 0
		 *      TDMIN_B, 1
		 *      TDMIN_C, 2
		 *      SPDIFIN, 3
		 *      PDMIN,  4
		 *      NONE,
		 *      TDMIN_LB, 6
		 *      LOOPBACK, 7
		 */
		resample_module = <3>;

		status = "disabled";
	};

}; /* end of audiobus */

&pinctrl_periphs {
	/* audio pin mux */

	tdma_mclk: tdma_mclk {
		mux { /* GPIOZ_0 */
			groups = "mclk0_z";
			function = "mclk0";
		};
	};

	tdmout_a: tdmout_a {
		mux { /* GPIOZ_1, GPIOZ_2, GPIOZ_3 */
			groups = "tdma_sclk_z",
				"tdma_fs_z",
				"tdma_dout0_z";
			function = "tdma_out";
		};
	};

	tdmin_a: tdmin_a {
		mux { /* GPIOZ_9 */
			groups = "tdma_din2_z";
			function = "tdma_in";
		};
	};

	tdmout_c: tdmout_c {
		mux { /* GPIODV_7, GPIODV_8, GPIODV_9 */
			groups = "tdmc_sclk",
				"tdmc_fs",
				"tdmc_dout0";
			function = "tdmc_out";
		};
	};

	tdmin_c: tdmin_c {
		mux { /* GPIODV_10 */
			groups = "tdmc_din1";
			function = "tdmc_in";
		};
	};

	spdifin_a: spdifin_a {
		mux { /* GPIODV_5 */
			groups = "spdif_in";
			function = "spdif_in";
		};
	};

	spdifout_a: spdifout_a {
		mux { /* GPIODV_4 */
			groups = "spdif_out_dv4";
			function = "spdif_out";
		};
	};

	pdmin: pdmin {
		mux { /* GPIOZ_7, GPIOZ_8, pdm_din2_z4 */
			groups = "pdm_dclk_z",
				"pdm_din0_z",
				"pdm_din2_z4";
			function = "pdm";
		};
	};

	/*backlight*/
	bl_pwm_vs_on_pins:bl_pwm_vs_on_pin {
		mux {
			groups = "pwm_vs_z5";
			function = "pwm_vs";
		};
	};
	bl_pwm_off_pins:bl_pwm_off_pin {
		mux {
			groups = "GPIOZ_5";
			function = "gpio_periphs";
			output-low;
		};
	};
	bl_pwm_combo_0_vs_on_pins:bl_pwm_combo_0_vs_on_pin {
		mux {
			groups = "pwm_vs_z5";
			function = "pwm_vs";
		};
	};
	bl_pwm_combo_1_vs_on_pins:bl_pwm_combo_1_vs_on_pin {
		mux {
			groups = "pwm_vs_z6";
			function = "pwm_vs";
		};
	};
	bl_pwm_combo_off_pins:bl_pwm_combo_off_pin {
		mux {
			groups = "GPIOZ_5",
				"GPIOZ_6";
			function = "gpio_periphs";
			output-low;
		};
	};

}; /* end of pinctrl_periphs */

&audio_data{
	status = "okay";
};

&i2c2 {
	status = "okay";
	pinctrl-names="default";
	pinctrl-0=<&i2c2_z_pins>;
	clock-frequency = <400000>;

	ad82584f: ad82584f@62 {
		compatible = "ESMT, ad82584f";
		#sound-dai-cells = <0>;
		reg = <0x31>;
		status = "okay";
		reset_pin = <&gpio_ao GPIOAO_6 0>;
	};

};

&sd_emmc_c {
	status = "okay";
	emmc {
		caps = "MMC_CAP_8_BIT_DATA",
			 "MMC_CAP_MMC_HIGHSPEED",
			 "MMC_CAP_SD_HIGHSPEED",
			 "MMC_CAP_NONREMOVABLE",
			 "MMC_CAP_1_8V_DDR",
			 "MMC_CAP_HW_RESET",
			 "MMC_CAP_ERASE",
			 "MMC_CAP_CMD23";
		caps2 = "MMC_CAP2_HS200";
		/* "MMC_CAP2_HS400";*/
		f_min = <400000>;
		f_max = <200000000>;
	};
};



&spifc {
	status = "disabled";
	spi-nor@0 {
		cs_gpios = <&gpio BOOT_13 GPIO_ACTIVE_HIGH>;
	};
};

&slc_nand {
	status = "disabled";
	plat-names = "bootloader", "nandnormal";
	plat-num = <2>;
	plat-part-0 = <&bootloader>;
	plat-part-1 = <&nandnormal>;
	bootloader: bootloader{
		enable_pad = "ce0";
		busy_pad = "rb0";
		timming_mode = "mode5";
		bch_mode = "bch8_1k";
		t_rea = <20>;
		t_rhoh = <15>;
		chip_num = <1>;
		part_num = <0>;
		rb_detect = <1>;
	};
	nandnormal: nandnormal{
		enable_pad = "ce0";
		busy_pad = "rb0";
		timming_mode = "mode5";
		bch_mode = "bch8_1k";
		plane_mode = "twoplane";
		t_rea = <20>;
		t_rhoh = <15>;
		chip_num = <2>;
		part_num = <3>;
		partition = <&nand_partitions>;
		rb_detect = <1>;
	};
	nand_partitions:nand_partition{
		/*
		 * if bl_mode is 1, tpl size was generate by
		 * fip_copies * fip_size which
		 * will not skip bad when calculating
		 * the partition size;
		 *
		 * if bl_mode is 0,
		 * tpl partition must be comment out.
		 */
		tpl{
			offset=<0x0 0x0>;
			size=<0x0 0x0>;
		};
		logo{
			offset=<0x0 0x0>;
			size=<0x0 0x200000>;
		};
		recovery{
			offset=<0x0 0x0>;
			size=<0x0 0x1000000>;
		};
		boot{
			offset=<0x0 0x0>;
			size=<0x0 0x1000000>;
		};
		system{
			offset=<0x0 0x0>;
			size=<0x0 0x4000000>;
		};
		data{
			offset=<0xffffffff 0xffffffff>;
			size=<0x0 0x0>;
		};
	};
};

&ethmac {
	status = "okay";
	pinctrl-names = "internal_eth_pins";
	pinctrl-0 = <&internal_eth_pins>;
	mc_val = <0x4be04>;

	internal_phy=<1>;
};

&uart_A {
	status = "okay";
};

&dwc3 {
	status = "okay";
};

&usb2_phy_v2 {
	status = "okay";
	portnum = <3>;
};

&usb3_phy_v2 {
	status = "okay";
	portnum = <0>;
	otg = <0>;
};

&dwc2_a {
	status = "okay";
	/** 0: normal, 1: otg+dwc3 host only, 2: otg+dwc3 device only*/
	controller-type = <1>;
};

&spicc0 {
	status = "okay";
	pinctrl-names = "default";
	pinctrl-0 = <&spicc0_pins_h>;
	cs-gpios = <&gpio GPIOH_20 0>;
};

&meson_fb {
	status = "okay";
	display_size_default = <1920 1080 1920 2160 32>;
	mem_size = <0x00800000 0x1980000 0x100000 0x800000>;
	logo_addr = "0x7f800000";
	mem_alloc = <0>;
	pxp_mode = <0>; /** 0:normal mode 1:pxp mode */
};

&pwm_AO_cd {
	status = "okay";
};

&saradc {
	status = "okay";
};

&i2c1 {
	status = "okay";
	clock-frequency = <300000>;
	pinctrl-names="default";
	pinctrl-0=<&i2c1_h_pins>;

	lcd_extern_i2c0: lcd_extern_i2c@0 {
		compatible = "lcd_ext, i2c";
		dev_name = "i2c_T5800Q";
		reg = <0x1c>;
		status = "okay";
	};

	lcd_extern_i2c1: lcd_extern_i2c@1 {
		compatible = "lcd_ext, i2c";
		dev_name = "i2c_ANX6862";
		reg = <0x20>;
		status = "okay";
	};

	lcd_extern_i2c2: lcd_extern_i2c@2 {
		compatible = "lcd_ext, i2c";
		dev_name = "i2c_ANX7911";
		reg = <0x74>;
		status = "okay";
	};
};

&pwm_ab {
	status = "okay";
};

&pwm_cd {
	status = "okay";
};

&efuse {
	status = "okay";
};
